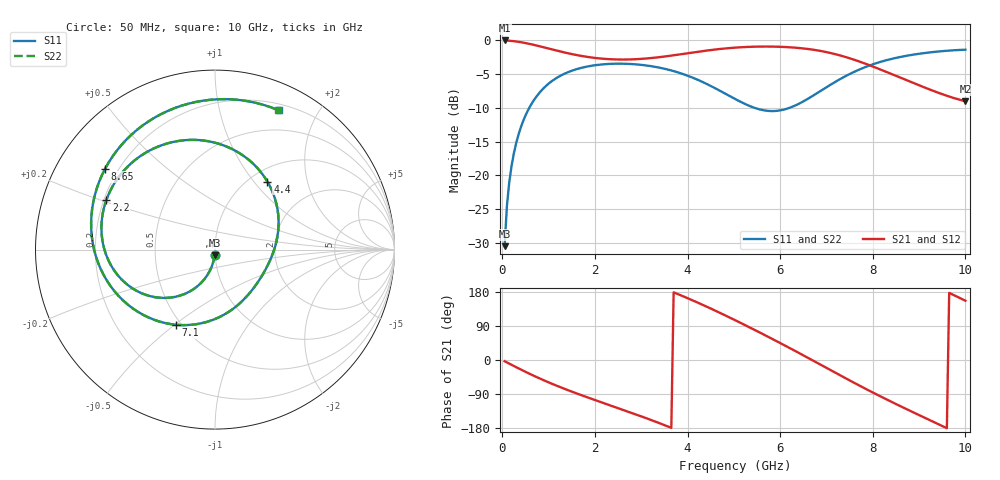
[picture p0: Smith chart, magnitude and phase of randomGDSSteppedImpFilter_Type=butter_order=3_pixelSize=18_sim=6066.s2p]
! freq	dB(S11)	phase(S11)	dB(S12)	phase(S12)
!  dB(S21)	phase(S21)	dB(S22)	phase(S22)
!S-par simulation data
#  GHz  S  DB  R 50
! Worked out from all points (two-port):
!   200 points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, 50 MHz to 10 GHz, reference 50 ohm
!   highest |S21| = -0.01 dB at 50 MHz (marker M1); lowest = -9.0 dB at 10 GHz (marker M2)
!   |S21| within 3 dB of the highest: start of sweep to 7.659 GHz
!   lowest |S11| = -30.5 dB at 50 MHz (marker M3), VSWR 1.06, Z = 49.7 - j2.96 ohm
!   |S11| at or under -10 dB: start of sweep to 583.4 MHz; 5.445 GHz to 6.204 GHz (759.4 MHz wide, 13 % of centre)
!   |S22| runs from -30.5 to -1.4 dB; largest |S21 - S12| = 0
!   S11 on the Smith chart (normalised r, x): 50 MHz: 0.99, -0.06; 2.2 GHz: 0.21, +0.21; 4.4 GHz: 1.20, +1.17; 7.1 GHz: 0.47, -0.51; 8.65 GHz: 0.15, +0.32; 10 GHz: 0.27, +1.52
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0.05  -30.53 -93.3  -0.01 -3.2  -0.01 -3.2  -30.53 -93.3
0.1  -24.54 -96.7  -0.03 -6.4  -0.03 -6.4  -24.54 -96.7
0.2  -18.62 -103.2  -0.08 -12.7  -0.08 -12.7  -18.62 -103.2
0.5  -11.15 -121.6  -0.39 -31.1  -0.39 -31.1  -11.15 -121.6
1.05  -6.15 -152.2  -1.30 -61.6  -1.30 -61.6  -6.15 -152.2
1.75  -4.00 174.8  -2.35 -94.7  -2.35 -94.7  -4.00 174.8
2.2  -3.54 155.4  -2.73 -114.1  -2.73 -114.1  -3.54 155.4
2.85  -3.53 127.7  -2.80 -142.0  -2.80 -142.0  -3.53 127.7
3.4  -4.05 103.0  -2.48 -167.0  -2.48 -167.0  -4.05 103.0
3.95  -5.11 76.1  -1.96 165.8  -1.96 165.8  -5.11 76.1
4.4  -6.41 52.3  -1.52 141.5  -1.52 141.5  -6.41 52.3
5.05  -8.77 15.4  -1.06 103.7  -1.06 103.7  -8.77 15.4
5.45  -10.01 -8.6  -0.93 79.4  -0.93 79.4  -10.01 -8.6
5.8  -10.48 -30.5  -0.92 57.5  -0.92 57.5  -10.48 -30.4
6.25  -9.88 -59.8  -1.04 28.7  -1.04 28.7  -9.88 -59.7
6.7  -8.24 -90.2  -1.37 -0.8  -1.37 -0.8  -8.24 -90.1
7.1  -6.53 -117.5  -1.89 -27.4  -1.89 -27.4  -6.53 -117.4
7.7  -4.35 -157.5  -3.11 -66.8  -3.11 -66.8  -4.35 -157.5
8.35  -2.84 161.6  -4.83 -107.2  -4.83 -107.2  -2.84 161.6
8.65  -2.38 143.7  -5.68 -125.0  -5.68 -125.0  -2.38 143.7
9.35  -1.69 103.2  -7.60 -165.5  -7.60 -165.5  -1.69 103.2
10  -1.38 65.5  -9.01 156.5  -9.01 156.5  -1.38 65.6
